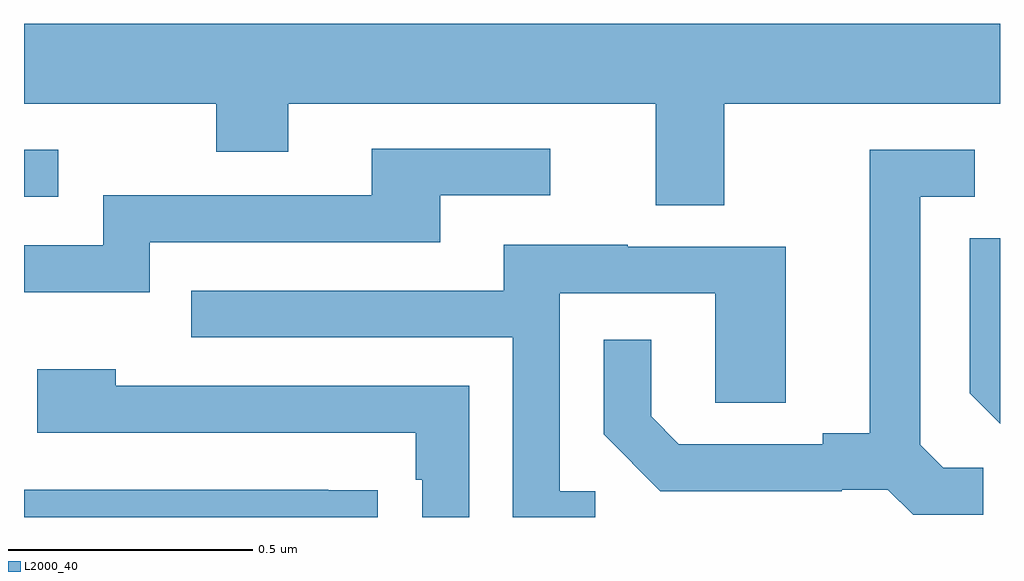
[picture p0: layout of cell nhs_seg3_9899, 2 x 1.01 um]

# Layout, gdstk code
import gdstk
lib = gdstk.Library(unit=1e-6, precision=1e-09)
def R(c, l, rs):  # rectangles x0, y0, x1, y1
    for r in rs: c.add(gdstk.rectangle(r[:2], r[2:], *l))
def P(c, l, *ps):  # polygons
    for p in ps: c.add(gdstk.Polygon(p, *l))
L2000_40 = (2000, 40)

nhs_seg3_9899 = lib.new_cell('nhs_seg3_9899')
R(nhs_seg3_9899, L2000_40, [(234,702.057,234.07,702.153)])
P(nhs_seg3_9899, L2000_40, [(235.435,702.248),(236,702.248),(236,702.412),(234,702.412),(234,702.248),(234.394,702.248),(234.394,702.149),(234.541,702.149),(234.541,702.248),(235.295,702.248),(235.295,702.04),(235.435,702.04)],
  [(234.258,701.964),(234.853,701.964),(234.853,702.06),(235.078,702.06),(235.078,702.156),(234.713,702.156),(234.713,702.06),(234.162,702.06),(234.162,701.958),(234,701.958),(234,701.861),(234.258,701.861)],
  [(235.966,701.502),(235.884,701.502),(235.837,701.549),(235.837,702.057),(235.948,702.057),(235.948,702.153),(235.733,702.153),(235.733,701.573),(235.637,701.573),(235.637,701.55),(235.342,701.55),(235.285,701.607),(235.285,701.764),(235.188,701.764),(235.188,701.57),(235.304,701.454),(235.676,701.454),(235.676,701.457),(235.77,701.457),(235.822,701.405),(235.966,701.405)],
  [(236,701.972),(235.938,701.972),(235.938,701.654),(236,701.592)],
  [(235.171,701.454),(235.098,701.454),(235.098,701.859),(235.416,701.859),(235.416,701.635),(235.561,701.635),(235.561,701.955),(235.237,701.955),(235.237,701.959),(234.983,701.959),(234.983,701.865),(234.343,701.865),(234.343,701.769),(235.002,701.769),(235.002,701.4),(235.171,701.4)],
  [(234.912,701.67),(234.188,701.67),(234.188,701.704),(234.027,701.704),(234.027,701.574),(234.803,701.574),(234.803,701.477),(234.816,701.477),(234.816,701.4),(234.912,701.4)],
  [(234.725,701.456),(234.623,701.456),(234.623,701.457),(234,701.457),(234,701.4),(234.725,701.4)])

lib.write_gds('nhs_seg3_9899.gds')
